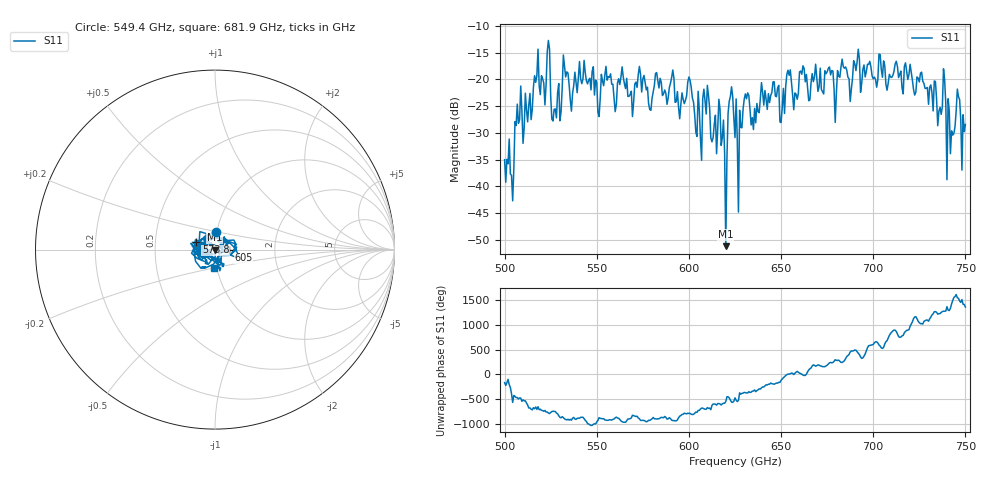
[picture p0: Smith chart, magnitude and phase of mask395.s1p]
!Created with skrf (http://scikit-rf.org).
# GHz S MA R 50.0
!freq magS11 angS11
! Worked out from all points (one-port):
!   401 points, 500 GHz to 750 GHz, reference 50 ohm
!   lowest |S11| = -51.2 dB at 620 GHz (marker M1), VSWR 1.01, Z = 49.7 + j0.0188 ohm
!   |S11| at or under -10 dB: start of sweep to end of sweep
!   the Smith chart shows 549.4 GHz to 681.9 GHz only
!   S11 on the Smith chart (normalised r, x): 549.4 GHz: 0.99, +0.20; 573.8 GHz: 0.81, +0.07; 605 GHz: 1.17, -0.01; 681.9 GHz: 0.96, -0.20
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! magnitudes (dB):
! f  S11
! 500 GHz  -35.0
! 503.8 GHz  -38.0
! 507.5 GHz  -28.2
! 516.9 GHz  -20.6
! 523.8 GHz  -12.7
! 526.9 GHz  -25.6
! 531.2 GHz  -21.6
! 549.4 GHz  -20.1
! 562.5 GHz  -21.0
! 573.8 GHz  -19.1
! 593.8 GHz  -22.3
! 600.6 GHz  -20.2
! 605 GHz  -22.2
! 609.4 GHz  -26.5
! 620 GHz  -51.2
! 622.5 GHz  -23.2
! 625 GHz  -30.9
! 627.5 GHz  -25.8
! 631.2 GHz  -23.6
! 635 GHz  -29.4
! 656.2 GHz  -22.8
! 681.9 GHz  -19.6
! 687.5 GHz  -24.2
! 718.8 GHz  -20.0
! 738.1 GHz  -18.0
! 741.2 GHz  -25.9
! 746.2 GHz  -23.2
! 750 GHz  -28.4
